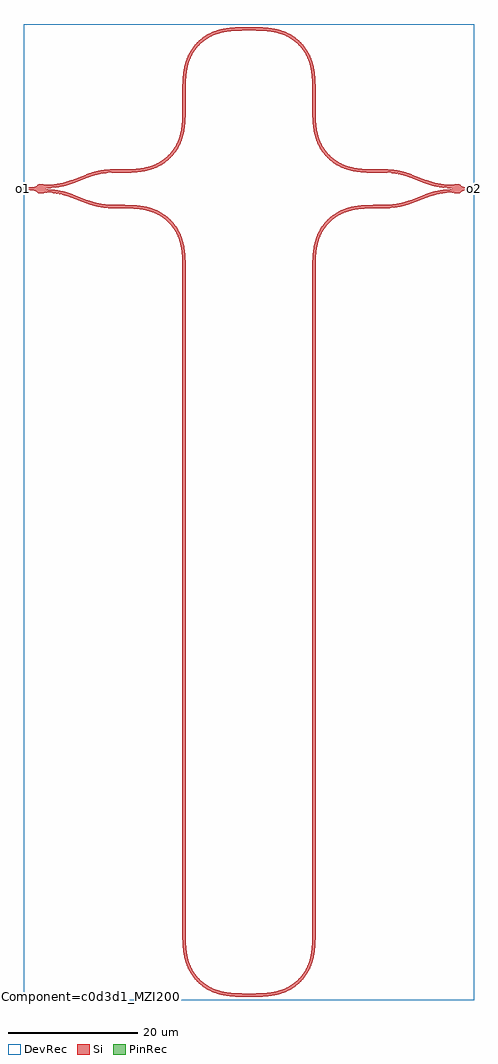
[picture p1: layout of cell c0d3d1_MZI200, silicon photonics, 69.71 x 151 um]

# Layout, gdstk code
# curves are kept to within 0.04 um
import gdstk
lib = gdstk.Library(unit=1e-6, precision=1e-09)
def R(c, l, rs):  # rectangles x0, y0, x1, y1
    for r in rs: c.add(gdstk.rectangle(r[:2], r[2:], *l))
def P(c, l, *ps):  # polygons
    for p in ps: c.add(gdstk.Polygon(p, *l))
Si = (1, 0)
PinRec = (1, 10)
DevRec = (68, 0)

c0d3d1_mzi200 = lib.new_cell('c0d3d1_MZI200')
R(c0d3d1_mzi200, Si, [(27.4,-125,27.5,-124.5), (17.15,-114.75,17.65,-12.75), (37.25,-114.75,37.75,-12.75), (6.5,-3,7.4,-2.5), (47.5,-3,48.4,-2.5), (-7.4,-0.25,-6,0.25), (60.9,-0.25,62.3,0.25), (6.5,2.5,7.4,3), (47.5,2.5,48.4,3), (17.15,12.75,17.65,14.75), (37.25,12.75,37.75,14.75), (27.4,24.5,27.5,25)])
P(c0d3d1_mzi200, Si, [(6.458,-3),(6.237,-2.997),(6.237,-2.497),(6.5,-2.5),(6.5,-3)],
  [(5.033,-2.908),(3.59,-2.634),(2.265,-2.21),(2.445,-1.744),(3.731,-2.154),(5.033,-2.404)],
  [(6.233,-2.997),(5.033,-2.908),(5.033,-2.404),(6.237,-2.497)],
  [(2.265,-2.21),(0.055,-1.356),(0.235,-0.89),(2.445,-1.744)],
  [(-0.762,-1.076),(-2.334,-0.724),(-4,-0.6),(-4,-0.1),(-2.381,-0.212),(-0.762,-0.555)],
  [(0.055,-1.356),(-0.762,-1.076),(-0.762,-0.555),(0.235,-0.89)],
  [(6.237,2.497),(6.237,2.997),(6.5,3),(6.5,2.5)],
  [(2.445,1.744),(2.267,2.211),(3.59,2.634),(5.033,2.908),(5.033,2.404),(3.731,2.154)],
  [(5.033,2.404),(5.033,2.908),(6.237,2.997),(6.237,2.497)],
  [(0.235,0.89),(0.055,1.356),(2.265,2.21),(2.445,1.744)],
  [(-4,0.1),(-4,0.6),(-2.334,0.724),(-0.762,1.076),(-0.762,0.555),(-2.381,0.212)],
  [(-0.762,0.555),(-0.762,1.076),(0.055,1.356),(0.235,0.89)],
  [(-5.122,-0.662),(-5.442,-0.374),(-5.808,-0.255),(-6,-0.25),(-6,0.25),(-5.817,0.253),(-5.442,0.374),(-5.122,0.662)],
  [(-4.957,-0.703),(-5.122,-0.662),(-5.122,0.662),(-4.538,0.703),(-4,0.6),(-4,-0.6),(-4.509,-0.701)],
  [(17.15,-12.75),(17.061,-10.004),(16.753,-8.273),(16.451,-7.385),(16.101,-6.663),(15.669,-5.988),(15.068,-5.271),(13.943,-4.328),(13.251,-3.923),(12.516,-3.601),(11.484,-3.299),(10.281,-3.103),(9.055,-3.019),(7.4,-3),(7.4,-2.5),(9.212,-2.525),(10.335,-2.606),(11.315,-2.753),(12.283,-2.994),(13.219,-3.352),(13.979,-3.758),(14.797,-4.34),(15.429,-4.924),(16.073,-5.694),(16.673,-6.672),(17.066,-7.595),(17.339,-8.556),(17.594,-10.377),(17.65,-12.75)],
  [(26.984,-125),(24.465,-124.894),(23.485,-124.747),(22.517,-124.506),(21.581,-124.148),(20.821,-123.742),(20.003,-123.16),(19.371,-122.576),(18.812,-121.921),(18.263,-121.081),(17.833,-120.173),(17.564,-119.359),(17.352,-118.386),(17.229,-117.404),(17.15,-114.75),(17.65,-114.75),(17.669,-116.405),(17.753,-117.631),(17.92,-118.702),(18.206,-119.74),(18.834,-121.067),(19.732,-122.229),(20.857,-123.172),(21.549,-123.577),(22.284,-123.899),(23.316,-124.201),(24.519,-124.397),(25.745,-124.481),(27.4,-124.5),(27.4,-125)],
  [(7.4,2.5),(7.4,3),(9.055,3.019),(10.281,3.103),(11.352,3.27),(12.39,3.556),(13.131,3.863),(13.831,4.255),(14.975,5.175),(15.895,6.319),(16.287,7.019),(16.594,7.76),(16.88,8.798),(17.047,9.869),(17.131,11.095),(17.15,12.75),(17.65,12.75),(17.558,9.955),(17.423,8.974),(17.197,8.004),(16.857,7.062),(16.466,6.295),(15.9,5.465),(15.328,4.822),(14.685,4.25),(13.855,3.684),(13.088,3.293),(12.146,2.953),(11.176,2.727),(10.195,2.592)],
  [(17.15,14.75),(17.242,17.545),(17.377,18.526),(17.603,19.496),(17.943,20.438),(18.334,21.205),(18.9,22.035),(19.472,22.678),(20.115,23.25),(20.945,23.816),(21.712,24.207),(22.654,24.547),(23.624,24.773),(24.605,24.908),(27.4,25),(27.4,24.5),(25.745,24.481),(24.519,24.397),(23.448,24.23),(22.41,23.944),(21.669,23.637),(20.969,23.245),(19.825,22.325),(18.905,21.181),(18.513,20.481),(18.206,19.74),(17.92,18.702),(17.753,17.631),(17.669,16.405),(17.65,14.75)],
  [(37.25,14.75),(37.161,17.496),(36.853,19.227),(36.551,20.115),(36.201,20.837),(35.769,21.512),(35.168,22.229),(34.043,23.172),(33.351,23.577),(32.616,23.899),(31.584,24.201),(30.381,24.397),(29.155,24.481),(27.5,24.5),(27.5,25),(29.312,24.975),(30.435,24.894),(31.415,24.747),(32.383,24.506),(33.319,24.148),(34.079,23.742),(34.897,23.16),(35.529,22.576),(36.173,21.806),(36.773,20.828),(37.166,19.905),(37.439,18.944),(37.694,17.123),(37.75,14.75)],
  [(47.084,2.5),(44.565,2.606),(43.585,2.753),(42.617,2.994),(41.681,3.352),(40.921,3.758),(40.103,4.34),(39.471,4.924),(38.912,5.579),(38.363,6.419),(37.933,7.327),(37.664,8.141),(37.452,9.114),(37.329,10.096),(37.25,12.75),(37.75,12.75),(37.769,11.095),(37.853,9.869),(38.02,8.798),(38.306,7.76),(38.934,6.433),(39.832,5.271),(40.957,4.328),(41.649,3.923),(42.384,3.601),(43.416,3.299),(44.619,3.103),(45.845,3.019),(47.5,3),(47.5,2.5)],
  [(27.5,-125),(27.5,-124.5),(29.155,-124.481),(30.381,-124.397),(31.452,-124.23),(32.49,-123.944),(33.231,-123.637),(33.931,-123.245),(35.075,-122.325),(35.995,-121.181),(36.387,-120.481),(36.694,-119.74),(36.98,-118.702),(37.147,-117.631),(37.231,-116.405),(37.25,-114.75),(37.75,-114.75),(37.658,-117.545),(37.523,-118.526),(37.297,-119.496),(36.957,-120.438),(36.566,-121.205),(36,-122.035),(35.428,-122.678),(34.785,-123.25),(33.955,-123.816),(33.188,-124.207),(32.246,-124.547),(31.276,-124.773),(30.295,-124.908)],
  [(37.25,-12.75),(37.342,-9.955),(37.477,-8.974),(37.703,-8.004),(38.043,-7.062),(38.434,-6.295),(39,-5.465),(39.572,-4.822),(40.215,-4.25),(41.045,-3.684),(41.812,-3.293),(42.754,-2.953),(43.724,-2.727),(44.705,-2.592),(47.5,-2.5),(47.5,-3),(45.845,-3.019),(44.619,-3.103),(43.548,-3.27),(42.51,-3.556),(41.769,-3.863),(41.069,-4.255),(39.925,-5.175),(39.005,-6.319),(38.613,-7.019),(38.306,-7.76),(38.02,-8.798),(37.853,-9.869),(37.769,-11.095),(37.75,-12.75)],
  [(48.4,-3),(48.4,-2.5),(48.663,-2.497),(48.663,-2.997)],
  [(49.867,-2.908),(49.867,-2.404),(51.169,-2.154),(52.455,-1.744),(52.635,-2.21),(51.31,-2.634)],
  [(48.663,-2.997),(48.663,-2.497),(49.867,-2.404),(49.867,-2.908)],
  [(52.635,-2.21),(52.455,-1.744),(54.665,-0.89),(54.845,-1.356)],
  [(55.662,-1.076),(55.662,-0.555),(57.281,-0.212),(58.9,-0.1),(58.9,-0.6),(57.234,-0.724)],
  [(54.845,-1.356),(54.665,-0.89),(55.662,-0.555),(55.662,-1.076)],
  [(48.656,2.497),(48.4,2.5),(48.4,3),(48.663,2.997)],
  [(52.455,1.744),(51.169,2.154),(49.867,2.404),(49.867,2.908),(51.31,2.634),(52.633,2.211)],
  [(49.867,2.404),(48.663,2.497),(48.663,2.997),(49.867,2.908)],
  [(54.665,0.89),(52.455,1.744),(52.635,2.21),(54.845,1.356)],
  [(58.858,0.1),(57.281,0.212),(55.662,0.555),(55.662,1.076),(57.234,0.724),(58.9,0.6),(58.9,0.1)],
  [(55.662,0.555),(54.665,0.89),(54.845,1.356),(55.662,1.076)],
  [(60.022,-0.662),(60.022,0.662),(60.342,0.374),(60.708,0.255),(60.9,0.25),(60.9,-0.25),(60.717,-0.253),(60.342,-0.374)],
  [(59.438,-0.703),(58.9,-0.6),(58.9,0.6),(59.42,0.702),(59.99,0.678),(60.022,-0.662)])
R(c0d3d1_mzi200, DevRec, [(-7.4,-125.5,62.3,25.5)])
c0d3d1_mzi200.add(gdstk.FlexPath([(-7.395,0),(-7.405,0)], 0.5, ends="flush", simple_path=True, layer=1, datatype=10))  # PinRec
c0d3d1_mzi200.add(gdstk.FlexPath([(62.295,0),(62.305,0)], 0.5, ends="flush", simple_path=True, layer=1, datatype=10))  # PinRec
c0d3d1_mzi200.add(gdstk.Label('Component=c0d3d1_MZI200', (-7.4,-125), layer=68, texttype=0))
c0d3d1_mzi200.add(gdstk.Label('o1', (-7.4,0), layer=1, texttype=10))
c0d3d1_mzi200.add(gdstk.Label('o2', (62.3,0), layer=1, texttype=10))

lib.write_gds('c0d3d1_MZI200.gds')
